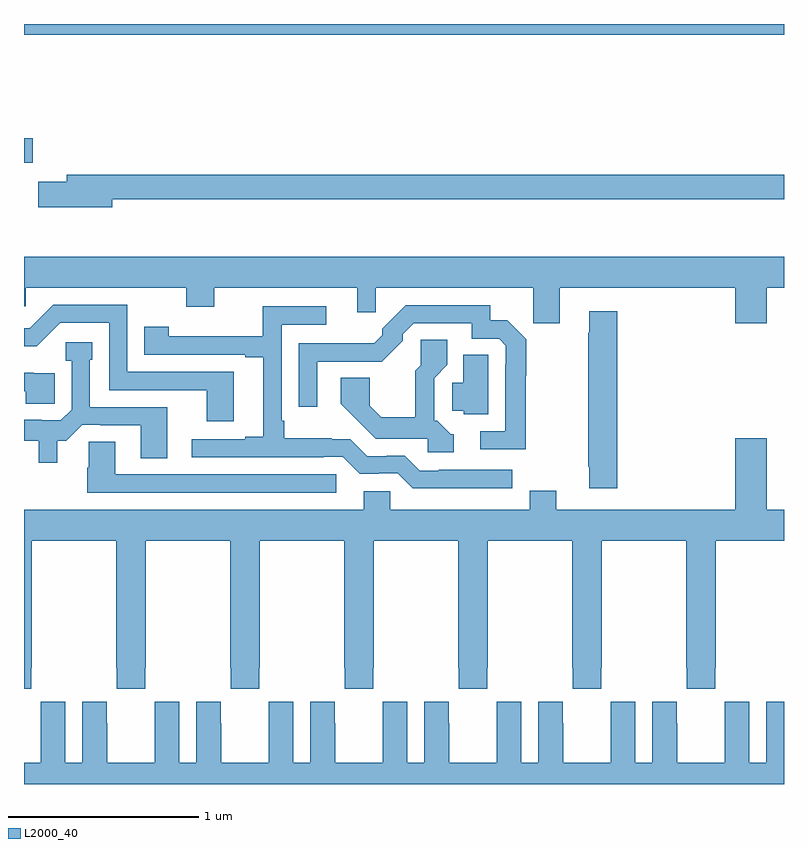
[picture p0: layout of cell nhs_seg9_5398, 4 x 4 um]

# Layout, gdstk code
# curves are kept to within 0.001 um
import gdstk
lib = gdstk.Library(unit=1e-6, precision=1e-09)
def R(c, l, rs):  # rectangles x0, y0, x1, y1
    for r in rs: c.add(gdstk.rectangle(r[:2], r[2:], *l))
def P(c, l, *ps):  # polygons
    for p in ps: c.add(gdstk.Polygon(p, *l))
L2000_40 = (2000, 40)

nhs_seg9_5398 = lib.new_cell('nhs_seg9_5398')
R(nhs_seg9_5398, L2000_40, [(425,1171.771,425.047,1171.9), (425,1172.444,429,1172.5)])
P(nhs_seg9_5398, L2000_40, [(425.464,1171.578),(429,1171.578),(429,1171.706),(425.225,1171.706),(425.225,1171.67),(425.076,1171.67),(425.076,1171.535),(425.464,1171.535)],
  [(427.819,1171.112),(428.744,1171.112),(428.744,1170.924),(428.908,1170.924),(428.908,1171.112),(429,1171.112),(429,1171.276),(425,1171.276),(425,1171.014),(425.01,1171.014),(425.01,1171.112),(425.854,1171.112),(425.854,1171.013),(426.001,1171.013),(426.001,1171.112),(426.755,1171.112),(426.755,1170.983),(426.851,1170.983),(426.851,1171.112),(427.681,1171.112),(427.681,1170.924),(427.819,1170.924)],
  [(426.103,1170.669),(425.544,1170.669),(425.544,1171.023),(425.154,1171.023),(425.031,1170.9),(425,1170.9),(425,1170.803),(425.066,1170.803),(425.19,1170.927),(425.448,1170.927),(425.448,1170.573),(425.963,1170.573),(425.963,1170.408),(426.103,1170.408)],
  [(427.642,1170.649),(427.644,1170.649),(427.644,1170.84),(427.544,1170.94),(427.455,1170.94),(427.455,1171.02),(427.01,1171.02),(426.885,1170.895),(426.885,1170.861),(426.844,1170.82),(426.447,1170.819),(426.447,1170.486),(426.543,1170.486),(426.543,1170.723),(426.883,1170.723),(426.993,1170.833),(426.993,1170.867),(427.05,1170.924),(427.356,1170.924),(427.356,1170.843),(427.5,1170.843),(427.536,1170.807),(427.536,1170.707),(427.533,1170.707),(427.533,1170.357),(427.401,1170.357),(427.401,1170.261),(427.642,1170.261)],
  [(427.241,1170.057),(427.57,1170.057),(427.57,1170.153),(427.183,1170.153),(427.183,1170.15),(427.083,1170.15),(427.005,1170.228),(426.908,1170.228),(426.908,1170.225),(426.807,1170.225),(426.717,1170.315),(426.62,1170.315),(426.62,1170.319),(426.37,1170.319),(426.37,1170.412),(426.357,1170.412),(426.357,1170.918),(426.592,1170.918),(426.592,1171.014),(426.256,1171.014),(426.256,1170.856),(425.762,1170.856),(425.762,1170.907),(425.634,1170.907),(425.634,1170.759),(426.164,1170.759),(426.164,1170.747),(426.26,1170.747),(426.26,1170.328),(426.164,1170.328),(426.164,1170.315),(425.883,1170.315),(425.883,1170.219),(426.578,1170.219),(426.578,1170.222),(426.678,1170.222),(426.768,1170.132),(426.866,1170.132),(426.866,1170.135),(426.966,1170.135),(427.045,1170.056)],
  [(428.123,1170.988),(427.976,1170.988),(427.976,1170.875),(427.969,1170.875),(427.969,1170.169),(427.976,1170.169),(427.976,1170.057),(428.123,1170.057)],
  [(427.261,1170.342),(427.245,1170.342),(427.176,1170.411),(427.158,1170.411),(427.158,1170.636),(427.228,1170.706),(427.228,1170.838),(427.089,1170.838),(427.089,1170.703),(427.06,1170.674),(427.06,1170.429),(426.881,1170.429),(426.82,1170.49),(426.82,1170.638),(426.666,1170.638),(426.666,1170.502),(426.851,1170.318),(427.125,1170.318),(427.125,1170.246),(427.261,1170.246)],
  [(425.176,1170.306),(425.223,1170.306),(425.307,1170.39),(425.401,1170.39),(425.401,1170.387),(425.615,1170.387),(425.615,1170.214),(425.755,1170.214),(425.755,1170.483),(425.346,1170.483),(425.346,1170.732),(425.359,1170.732),(425.359,1170.825),(425.22,1170.825),(425.22,1170.727),(425.25,1170.727),(425.25,1170.471),(425.193,1170.414),(425.093,1170.414),(425.093,1170.417),(425,1170.417),(425,1170.306),(425.078,1170.306),(425.078,1170.192),(425.176,1170.192)],
  [(427.443,1170.758),(427.313,1170.758),(427.313,1170.611),(427.254,1170.611),(427.254,1170.465),(427.314,1170.465),(427.314,1170.446),(427.443,1170.446)],
  [(425.161,1170.663),(425.051,1170.663),(425.051,1170.664),(425,1170.664),(425,1170.567),(425.008,1170.567),(425.008,1170.502),(425.161,1170.502)],
  [(425.037,1169.113),(425.04,1169.113),(425.04,1169.78),(425.485,1169.78),(425.485,1169.113),(425.487,1169.113),(425.487,1169.001),(425.637,1169.001),(425.637,1169.113),(425.64,1169.113),(425.64,1169.78),(426.085,1169.78),(426.085,1169.113),(426.087,1169.113),(426.087,1169.001),(426.237,1169.001),(426.237,1169.113),(426.24,1169.113),(426.24,1169.78),(426.685,1169.78),(426.685,1169.113),(426.687,1169.113),(426.687,1169.001),(426.837,1169.001),(426.837,1169.113),(426.84,1169.113),(426.84,1169.78),(427.285,1169.78),(427.285,1169.113),(427.287,1169.113),(427.287,1169.001),(427.437,1169.001),(427.437,1169.113),(427.44,1169.113),(427.44,1169.78),(427.885,1169.78),(427.885,1169.113),(427.887,1169.113),(427.887,1169.001),(428.037,1169.001),(428.037,1169.113),(428.04,1169.113),(428.04,1169.78),(428.485,1169.78),(428.485,1169.113),(428.487,1169.113),(428.487,1169.001),(428.637,1169.001),(428.637,1169.113),(428.64,1169.113),(428.64,1169.78),(429,1169.78),(429,1169.944),(428.908,1169.944),(428.908,1170.319),(428.744,1170.319),(428.744,1169.944),(427.801,1169.944),(427.801,1170.043),(427.661,1170.043),(427.661,1169.944),(426.927,1169.944),(426.927,1170.042),(426.788,1170.042),(426.788,1169.944),(425,1169.944),(425,1169.001),(425.037,1169.001)],
  [(426.643,1170.129),(425.479,1170.129),(425.479,1170.302),(425.341,1170.302),(425.341,1170.165),(425.332,1170.165),(425.332,1170.033),(426.643,1170.033)],
  [(426.636,1168.82),(426.636,1168.933),(426.506,1168.933),(426.506,1168.612),(426.418,1168.612),(426.418,1168.933),(426.288,1168.933),(426.288,1168.82),(426.287,1168.82),(426.287,1168.612),(426.037,1168.612),(426.037,1168.82),(426.036,1168.82),(426.036,1168.933),(425.906,1168.933),(425.906,1168.612),(425.818,1168.612),(425.818,1168.933),(425.688,1168.933),(425.688,1168.82),(425.687,1168.82),(425.687,1168.612),(425.437,1168.612),(425.437,1168.82),(425.436,1168.82),(425.436,1168.933),(425.306,1168.933),(425.306,1168.612),(425.218,1168.612),(425.218,1168.933),(425.088,1168.933),(425.088,1168.82),(425.087,1168.82),(425.087,1168.612),(425,1168.612),(425,1168.5),(429,1168.5),(429,1168.933),(428.906,1168.933),(428.906,1168.612),(428.818,1168.612),(428.818,1168.933),(428.688,1168.933),(428.688,1168.82),(428.687,1168.82),(428.687,1168.612),(428.437,1168.612),(428.437,1168.82),(428.436,1168.82),(428.436,1168.933),(428.306,1168.933),(428.306,1168.612),(428.218,1168.612),(428.218,1168.933),(428.088,1168.933),(428.088,1168.82),(428.087,1168.82),(428.087,1168.612),(427.837,1168.612),(427.837,1168.82),(427.836,1168.82),(427.836,1168.933),(427.706,1168.933),(427.706,1168.612),(427.618,1168.612),(427.618,1168.933),(427.488,1168.933),(427.488,1168.82),(427.487,1168.82),(427.487,1168.612),(427.237,1168.612),(427.237,1168.82),(427.236,1168.82),(427.236,1168.933),(427.106,1168.933),(427.106,1168.612),(427.018,1168.612),(427.018,1168.933),(426.888,1168.933),(426.888,1168.82),(426.887,1168.82),(426.887,1168.612),(426.637,1168.612),(426.637,1168.82)])

lib.write_gds('nhs_seg9_5398.gds')
